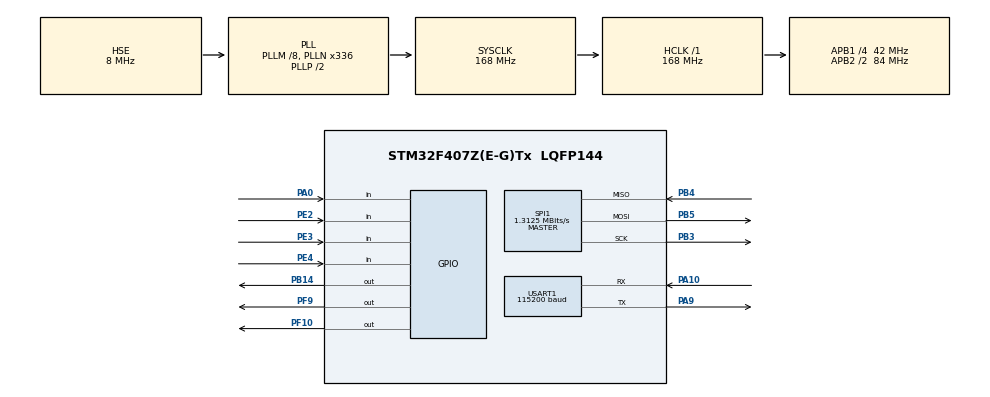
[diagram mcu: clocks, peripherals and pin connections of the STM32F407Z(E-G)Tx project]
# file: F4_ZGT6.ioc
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Dma.Request0=USART1_RX
Dma.Request1=USART1_TX
Dma.USART1_RX.0.Direction=DMA_PERIPH_TO_MEMORY
Dma.USART1_RX.0.FIFOMode=DMA_FIFOMODE_DISABLE
Dma.USART1_RX.0.Instance=DMA2_Stream2
Dma.USART1_RX.0.MemDataAlignment=DMA_MDATAALIGN_BYTE
Dma.USART1_RX.0.MemInc=DMA_MINC_ENABLE
Dma.USART1_RX.0.Mode=DMA_CIRCULAR
Dma.USART1_RX.0.PeriphDataAlignment=DMA_PDATAALIGN_BYTE
Dma.USART1_RX.0.PeriphInc=DMA_PINC_DISABLE
Dma.USART1_RX.0.Priority=DMA_PRIORITY_HIGH
Dma.USART1_TX.1.Direction=DMA_MEMORY_TO_PERIPH
Dma.USART1_TX.1.FIFOMode=DMA_FIFOMODE_DISABLE
Dma.USART1_TX.1.Instance=DMA2_Stream7
Dma.USART1_TX.1.MemDataAlignment=DMA_MDATAALIGN_BYTE
Dma.USART1_TX.1.MemInc=DMA_MINC_ENABLE
Dma.USART1_TX.1.Mode=DMA_NORMAL
Dma.USART1_TX.1.PeriphDataAlignment=DMA_PDATAALIGN_BYTE
Dma.USART1_TX.1.PeriphInc=DMA_PINC_DISABLE
Dma.USART1_TX.1.Priority=DMA_PRIORITY_MEDIUM
IWDG.Prescaler=IWDG_PRESCALER_32
IWDG.Reload=2000
Mcu.Family=STM32F4
Mcu.Name=STM32F407Z(E-G)Tx
Mcu.Package=LQFP144
NVIC.DMA2_Stream2_IRQn=true\:0\:0\:false\:false\:true\:false\:true
NVIC.DMA2_Stream7_IRQn=true\:0\:0\:false\:false\:true\:false\:true
NVIC.PriorityGroup=NVIC_PRIORITYGROUP_4
NVIC.TIM3_IRQn=true\:1\:0\:true\:false\:true\:true\:true
NVIC.USART1_IRQn=true\:3\:0\:true\:true\:true\:1\:true\:true
PA0-WKUP.GPIO_PuPd=GPIO_PULLDOWN
PA0-WKUP.Signal=GPIO_Input
PA10.GPIO_PuPd=GPIO_PULLUP
PA10.Mode=Asynchronous
PA10.Signal=USART1_RX
PA9.Mode=Asynchronous
PA9.Signal=USART1_TX
PB14.GPIO_ModeDefaultOutputPP=GPIO_MODE_OUTPUT_PP
PB14.GPIO_PuPd=GPIO_PULLUP
PB14.GPIO_Speed=GPIO_SPEED_FREQ_HIGH
PB14.Signal=GPIO_Output
PB3.Mode=Full_Duplex_Master
PB3.Signal=SPI1_SCK
PB4.Mode=Full_Duplex_Master
PB4.Signal=SPI1_MISO
PB5.Mode=Full_Duplex_Master
PB5.Signal=SPI1_MOSI
PE2.GPIO_PuPd=GPIO_PULLUP
PE2.Signal=GPIO_Input
PE3.GPIO_PuPd=GPIO_PULLUP
PE3.Signal=GPIO_Input
PE4.GPIO_PuPd=GPIO_PULLUP
PE4.Signal=GPIO_Input
PF10.GPIO_PuPd=GPIO_PULLUP
PF10.GPIO_Speed=GPIO_SPEED_FREQ_HIGH
PF10.PinState=GPIO_PIN_SET
PF10.Signal=GPIO_Output
PF9.GPIO_ModeDefaultOutputPP=GPIO_MODE_OUTPUT_PP
PF9.GPIO_PuPd=GPIO_PULLUP
PF9.GPIO_Speed=GPIO_SPEED_FREQ_HIGH
PF9.PinState=GPIO_PIN_SET
PF9.Signal=GPIO_Output
PH0-OSC_IN.Mode=HSE-External-Oscillator
PH0-OSC_IN.Signal=RCC_OSC_IN
PH1-OSC_OUT.Mode=HSE-External-Oscillator
PH1-OSC_OUT.Signal=RCC_OSC_OUT
ProjectManager.HeapSize=0x200
ProjectManager.StackSize=0x400
ProjectManager.TargetToolchain=EWARM V8
RCC.48MHZClocksFreq_Value=84000000
RCC.AHBFreq_Value=168000000
RCC.APB1CLKDivider=RCC_HCLK_DIV4
RCC.APB1Freq_Value=42000000
RCC.APB1TimFreq_Value=84000000
RCC.APB2CLKDivider=RCC_HCLK_DIV2
RCC.APB2Freq_Value=84000000
RCC.APB2TimFreq_Value=168000000
RCC.CortexFreq_Value=168000000
RCC.HCLKFreq_Value=168000000
RCC.HSE_VALUE=8000000
RCC.HSI_VALUE=16000000
RCC.LSE_VALUE=32768
RCC.PLLM=8
RCC.PLLN=336
RCC.PLLSourceVirtual=RCC_PLLSOURCE_HSE
RCC.SYSCLKFreq_VALUE=168000000
RCC.SYSCLKSource=RCC_SYSCLKSOURCE_PLLCLK
RCC.VCOOutputFreq_Value=336000000
SPI1.BaudRatePrescaler=SPI_BAUDRATEPRESCALER_64
SPI1.CalculateBaudRate=1.3125 MBits/s
SPI1.Direction=SPI_DIRECTION_2LINES
SPI1.Mode=SPI_MODE_MASTER
SPI1.VirtualType=VM_MASTER
TIM3.AutoReloadPreload=TIM_AUTORELOAD_PRELOAD_DISABLE
TIM3.Period=5000-1
TIM3.Prescaler=8400-1
TIM3.TIM_MasterOutputTrigger=TIM_TRGO_RESET
USART1.BaudRate=115200
USART1.VirtualMode=VM_ASYNC
VP_IWDG_VS_IWDG.Mode=IWDG_Activate
VP_TIM3_VS_ClockSourceINT.Mode=Internal
board=custom

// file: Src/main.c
/* USER CODE BEGIN Header */
/**
  ******************************************************************************
  * @file           : main.c
  * @brief          : Main program body
  ******************************************************************************
  * @attention
  *
  * <h2><center>&copy; Copyright (c) 2020 STMicroelectronics.
  * All rights reserved.</center></h2>
  *
  * This software component is licensed by ST under BSD 3-Clause license,
  * the "License"; You may not use this file except in compliance with the
  * License. You may obtain a copy of the License at:
  *                        opensource.org/licenses/BSD-3-Clause
  *
  ******************************************************************************
  */
/* USER CODE END Header */

#include "main.h"
#include "dma.h"
#include "iwdg.h"
#include "spi.h"
#include "tim.h"
#include "usart.h"
#include "gpio.h"

/* USER CODE BEGIN Includes */
#include <stdio.h>
#include <stdlib.h>
#include <string.h>
#include <stdbool.h>
#include "shell.h"
#include "net_reg.h"
#include "f4_flash.h"
#include "LED.h"
#include "delay.h"
#include "VTS_Protocol.h"
#include "socket_tcp.h"

/* USER CODE END Includes */

/* USER CODE BEGIN PV */

//声明外部变量
extern uint8_t aTxMessage[1024];
extern int8_t receive_Buff[255];
extern uint8_t packet_Buffer_For_Tcp_1[PACKET_BUFFER_LEN];
extern uint8_t packet_Buffer_For_Tcp_2[PACKET_BUFFER_LEN];

//测试代码

uint8_t test1[] = "dsafasdfasdf:CL_rotenc_type=30";
uint8_t test[] = ":CL_rotenc_type=";
uint8_t test3[] = "";

uint8_t test2[20];
uint8_t number_test = 0;
uint8_t test_Length = 0;
uint8_t s1_length,s2_length;
char *left = NULL;
char *right = NULL;

/* USER CODE END PV */

void SystemClock_Config(void);
static void MX_NVIC_Init(void);

int main(void)
{

  /* MCU Configuration--------------------------------------------------------*/

  /* Reset of all peripherals, Initializes the Flash interface and the Systick. */
  HAL_Init();

  /* Configure the system clock */
  SystemClock_Config();

  /* Initialize all configured peripherals */
  MX_GPIO_Init();
  MX_DMA_Init();
  MX_TIM3_Init();
  MX_USART1_UART_Init();
  MX_SPI1_Init();
  MX_IWDG_Init();

  /* Initialize interrupts */
  MX_NVIC_Init();
  /* USER CODE BEGIN 2 */

  //发送提示信息
  HAL_UART_Transmit_IT(&huart1, (uint8_t *)aTxMessage, sizeof(aTxMessage));
  //使能定时器3中断
  HAL_TIM_Base_Start_IT(&htim3);
  //初始化延时库
  delay_init(168);
  //使能串口空闲中断
  __HAL_UART_ENABLE_IT(&huart1,UART_IT_IDLE);
  //串口1的DMA连接到接收缓冲区receive_Buff
  HAL_UART_Receive_DMA(&huart1, (uint8_t *)receive_Buff,255);

  /* USER CODE END 2 */

  /* Infinite loop */
  while (1)
  {

    /* USER CODE BEGIN 3 */
    LED1_Toggle;
    //show_Shell_Title();
    //show_W5100_Default_Network_Settings();
    /*
    ans = strchr(test,'-');
    strcpy(test1,ans);
    printf("The string is : %s \r\n",test1);
    */

    //测试代码
    analyze_Tcp_Protocol_Command(SOCKET_0,packet_Buffer_For_Tcp_1);
    number_test = mystr_find_Right_Side_Index(test1,test);
    strcpy((char *)test2,(char *)(test1+number_test));

    delay_ms(100);
    //do_something();
    //喂狗
    HAL_IWDG_Refresh(&hiwdg);
  }
  /* USER CODE END 3 */
}

void SystemClock_Config(void)
{
  RCC_OscInitTypeDef RCC_OscInitStruct = {0};
  RCC_ClkInitTypeDef RCC_ClkInitStruct = {0};

  /** Configure the main internal regulator output voltage
  */
  __HAL_RCC_PWR_CLK_ENABLE();
  __HAL_PWR_VOLTAGESCALING_CONFIG(PWR_REGULATOR_VOLTAGE_SCALE1);
  /** Initializes the CPU, AHB and APB busses clocks
  */
  RCC_OscInitStruct.OscillatorType = RCC_OSCILLATORTYPE_LSI|RCC_OSCILLATORTYPE_HSE;
  RCC_OscInitStruct.HSEState = RCC_HSE_ON;
  RCC_OscInitStruct.LSIState = RCC_LSI_ON;
  RCC_OscInitStruct.PLL.PLLState = RCC_PLL_ON;
  RCC_OscInitStruct.PLL.PLLSource = RCC_PLLSOURCE_HSE;
  RCC_OscInitStruct.PLL.PLLM = 8;
  RCC_OscInitStruct.PLL.PLLN = 336;
  RCC_OscInitStruct.PLL.PLLP = RCC_PLLP_DIV2;
  RCC_OscInitStruct.PLL.PLLQ = 4;
  if (HAL_RCC_OscConfig(&RCC_OscInitStruct) != HAL_OK)
  {
    Error_Handler();
  }
  /** Initializes the CPU, AHB and APB busses clocks
  */
  RCC_ClkInitStruct.ClockType = RCC_CLOCKTYPE_HCLK|RCC_CLOCKTYPE_SYSCLK
                              |RCC_CLOCKTYPE_PCLK1|RCC_CLOCKTYPE_PCLK2;
  RCC_ClkInitStruct.SYSCLKSource = RCC_SYSCLKSOURCE_PLLCLK;
  RCC_ClkInitStruct.AHBCLKDivider = RCC_SYSCLK_DIV1;
  RCC_ClkInitStruct.APB1CLKDivider = RCC_HCLK_DIV4;
  RCC_ClkInitStruct.APB2CLKDivider = RCC_HCLK_DIV2;

  if (HAL_RCC_ClockConfig(&RCC_ClkInitStruct, FLASH_LATENCY_5) != HAL_OK)
  {
    Error_Handler();
  }
}

/**
  * @brief NVIC Configuration.
  * @retval None
  */
static void MX_NVIC_Init(void)
{
  /* USART1_IRQn interrupt configuration */
  HAL_NVIC_SetPriority(USART1_IRQn, 3, 0);
  HAL_NVIC_EnableIRQ(USART1_IRQn);
}

/* USER CODE BEGIN 4 */

void HAL_UART_RxCpltCallback(UART_HandleTypeDef * huart)
{
    /* Prevent unused argument(s) compilation warning */
    UNUSED(huart);
    /* NOTE: This function should not be modified, when the callback is needed,
             the HAL_UART_RxCpltCallback could be implemented in the user file
    */
}

/* USER CODE END 4 */

void Error_Handler(void)
{
}

/************************ (C) COPYRIGHT STMicroelectronics *****END OF FILE****/
